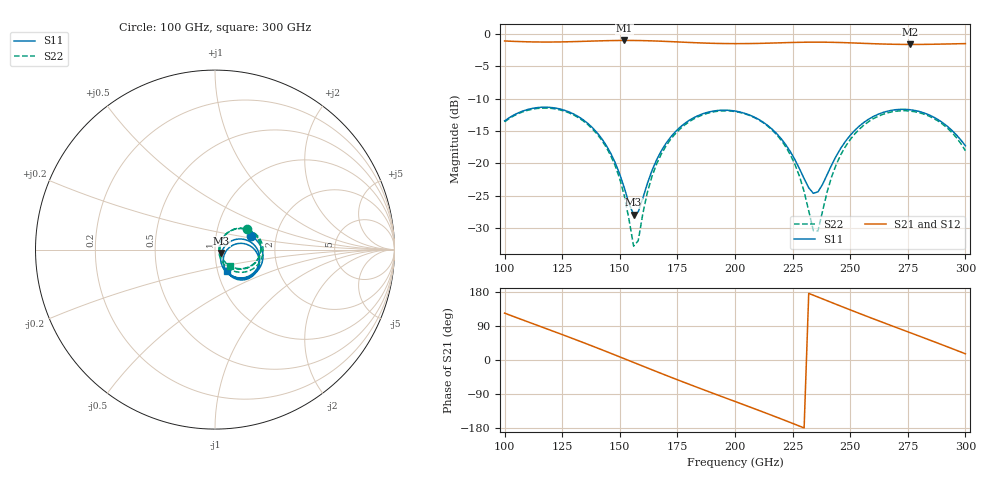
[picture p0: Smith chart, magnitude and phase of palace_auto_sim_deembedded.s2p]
! Created with skrf 1.11.0 (http://scikit-rf.org).
# GHz S DB R 50.0
!freq dBS11 angS11 dBS21 angS21 dBS12 angS12 dBS22 angS22
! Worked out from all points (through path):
!   101 points, 100 GHz to 300 GHz, reference 50 ohm
!   highest |S21| = -0.99 dB at 152 GHz (marker M1); lowest = -1.6 dB at 276 GHz (marker M2)
!   group delay of S21, straight-line fit = 6.51 ps
!   lowest |S11| = -27.9 dB at 156 GHz (marker M3), VSWR 1.08, Z = 53.6 - j2.01 ohm
!   |S11| at or under -10 dB: start of sweep to end of sweep
!   |S22| runs from -32.8 to -11.4 dB; largest |S21 - S12| = 1e-13
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100  -13.43 20.9  -1.07 123.7  -1.07 123.7  -13.55 32.5
116  -11.32 -11.4  -1.24 87.4  -1.24 87.4  -11.45 1.0
134  -13.23 -47.4  -1.13 46.4  -1.13 46.4  -13.39 -35.1
144  -17.14 -63.7  -1.03 22.7  -1.03 22.7  -17.42 -53.5
152  -23.83 -60.7  -0.99 3.3  -0.99 3.3  -25.06 -58.0
156  -27.94 -27.8  -1.00 -6.4  -1.00 -6.4  -32.78 -20.7
158  -27.48 -1.5  -1.01 -11.3  -1.01 -11.3  -31.94 28.0
162  -23.06 24.3  -1.04 -21.0  -1.04 -21.0  -24.42 56.0
168  -18.06 26.6  -1.11 -35.5  -1.11 -35.5  -18.56 53.2
184  -12.60 1.2  -1.36 -73.1  -1.36 -73.1  -12.78 24.3
200  -11.90 -28.3  -1.48 -109.4  -1.48 -109.4  -11.98 -6.7
222  -17.08 -61.1  -1.33 -160.1  -1.33 -160.1  -17.41 -46.5
228  -20.82 -58.9  -1.28 -174.5  -1.28 -174.5  -21.99 -51.2
234  -24.61 -28.7  -1.26 171.0  -1.26 171.0  -30.38 -17.0
236  -24.39 -12.4  -1.26 166.1  -1.26 166.1  -30.43 20.3
242  -20.19 13.3  -1.28 151.6  -1.28 151.6  -22.00 55.3
248  -16.56 13.6  -1.34 137.1  -1.34 137.1  -17.35 50.6
258  -13.16 0.3  -1.47 113.5  -1.47 113.5  -13.54 32.9
268  -11.78 -17.0  -1.58 90.4  -1.58 90.4  -12.03 13.1
276  -11.70 -31.1  -1.61 72.1  -1.61 72.1  -11.90 -2.9
290  -13.66 -53.3  -1.55 39.9  -1.55 39.9  -13.90 -30.3
300  -17.27 -60.7  -1.48 16.4  -1.48 16.4  -18.03 -47.1
